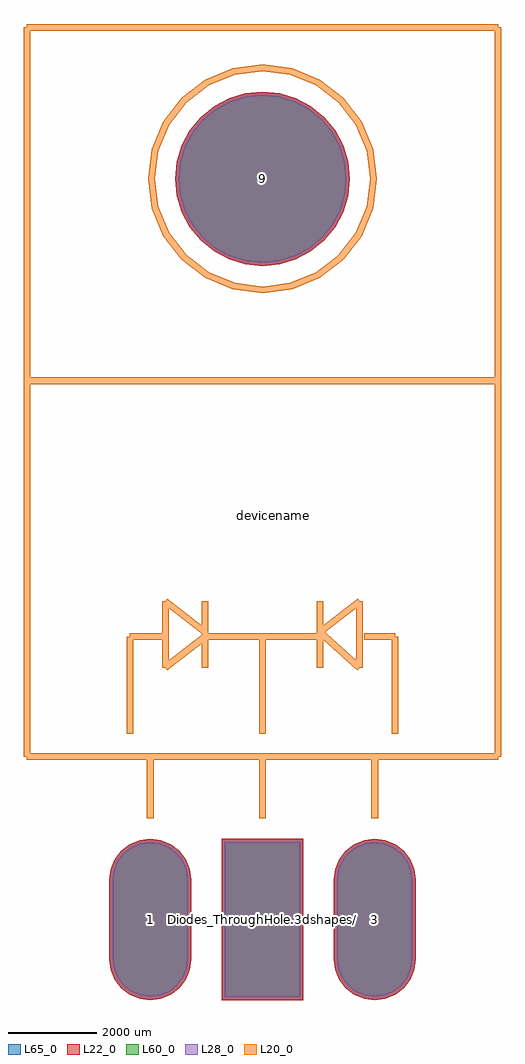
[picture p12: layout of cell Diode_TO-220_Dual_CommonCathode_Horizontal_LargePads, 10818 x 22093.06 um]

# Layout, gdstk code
import gdstk
lib = gdstk.Library(unit=1e-6, precision=1e-09)
def R(c, l, rs):  # rectangles x0, y0, x1, y1
    for r in rs: c.add(gdstk.rectangle(r[:2], r[2:], *l))
def P(c, l, *ps):  # polygons
    for p in ps: c.add(gdstk.Polygon(p, *l))
L20_0 = (20, 0)
L22_0 = (22, 0)
L28_0 = (28, 0)
L60_0 = (60, 0)
L65_0 = (65, 0)

diode_to_220_dual_common = lib.new_cell('Diode_TO-220_Dual_CommonCathode_Horizontal_LargePads')
R(diode_to_220_dual_common, L22_0, [(1612.83,-1825.06,3462.09,1825.06)])
P(diode_to_220_dual_common, L22_0, [(4512.38,16764),(4474.432,17149.288),(4362.048,17519.769),(4179.546,17861.207),(3933.939,18160.479),(3634.667,18406.086),(3293.229,18588.588),(2922.748,18700.972),(2537.46,18738.92),(2152.172,18700.972),(1781.691,18588.588),(1440.253,18406.086),(1140.981,18160.479),(895.374,17861.207),(712.872,17519.769),(600.488,17149.288),(562.54,16764),(600.488,16378.712),(712.872,16008.231),(895.374,15666.793),(1140.981,15367.521),(1440.253,15121.914),(1781.691,14939.412),(2152.172,14827.028),(2537.46,14789.08),(2922.748,14827.028),(3293.229,14939.412),(3634.667,15121.914),(3933.939,15367.521),(4179.546,15666.793),(4362.048,16008.231),(4474.432,16378.712)],
  [(5077.46,-1825.06),(5316.772,-1793.554),(5539.775,-1701.183),(5731.272,-1554.242),(5878.213,-1362.745),(5970.584,-1139.742),(6002.09,-900.43),(6002.09,900.43),(5970.584,1139.742),(5878.213,1362.745),(5731.272,1554.242),(5539.775,1701.183),(5316.772,1793.554),(5077.46,1825.06),(4838.148,1793.554),(4615.145,1701.183),(4423.648,1554.242),(4276.707,1362.745),(4184.336,1139.742),(4152.83,900.43),(4152.83,-900.43),(4184.336,-1139.742),(4276.707,-1362.745),(4423.648,-1554.242),(4615.145,-1701.183),(4838.148,-1793.554)],
  [(-2.54,-1825.06),(236.772,-1793.554),(459.775,-1701.183),(651.272,-1554.242),(798.213,-1362.745),(890.584,-1139.742),(922.09,-900.43),(922.09,900.43),(890.584,1139.742),(798.213,1362.745),(651.272,1554.242),(459.775,1701.183),(236.772,1793.554),(-2.54,1825.06),(-241.852,1793.554),(-464.855,1701.183),(-656.352,1554.242),(-803.293,1362.745),(-895.664,1139.742),(-927.17,900.43),(-927.17,-900.43),(-895.664,-1139.742),(-803.293,-1362.745),(-656.352,-1554.242),(-464.855,-1701.183),(-241.852,-1793.554)])
R(diode_to_220_dual_common, L28_0, [(1687.83,-1750.06,3387.09,1750.06)])
P(diode_to_220_dual_common, L28_0, [(4437.38,16764),(4400.874,17134.656),(4292.757,17491.068),(4117.186,17819.539),(3880.906,18107.446),(3592.999,18343.726),(3264.528,18519.297),(2908.116,18627.414),(2537.46,18663.92),(2166.804,18627.414),(1810.392,18519.297),(1481.921,18343.726),(1194.014,18107.446),(957.734,17819.539),(782.163,17491.068),(674.046,17134.656),(637.54,16764),(674.046,16393.344),(782.163,16036.932),(957.734,15708.461),(1194.014,15420.554),(1481.921,15184.274),(1810.392,15008.703),(2166.804,14900.586),(2537.46,14864.08),(2908.116,14900.586),(3264.528,15008.703),(3592.999,15184.274),(3880.906,15420.554),(4117.186,15708.461),(4292.757,16036.932),(4400.874,16393.344)],
  [(5077.46,-1750.06),(5297.36,-1721.11),(5502.275,-1636.231),(5678.239,-1501.209),(5813.261,-1325.245),(5898.14,-1120.33),(5927.09,-900.43),(5927.09,900.43),(5898.14,1120.33),(5813.261,1325.245),(5678.239,1501.209),(5502.275,1636.231),(5297.36,1721.11),(5077.46,1750.06),(4857.56,1721.11),(4652.645,1636.231),(4476.681,1501.209),(4341.659,1325.245),(4256.78,1120.33),(4227.83,900.43),(4227.83,-900.43),(4256.78,-1120.33),(4341.659,-1325.245),(4476.681,-1501.209),(4652.645,-1636.231),(4857.56,-1721.11)],
  [(-2.54,-1750.06),(217.36,-1721.11),(422.275,-1636.231),(598.239,-1501.209),(733.261,-1325.245),(818.14,-1120.33),(847.09,-900.43),(847.09,900.43),(818.14,1120.33),(733.261,1325.245),(598.239,1501.209),(422.275,1636.231),(217.36,1721.11),(-2.54,1750.06),(-222.44,1721.11),(-427.355,1636.231),(-603.319,1501.209),(-738.341,1325.245),(-823.22,1120.33),(-852.17,900.43),(-852.17,-900.43),(-823.22,-1120.33),(-738.341,-1325.245),(-603.319,-1501.209),(-427.355,-1636.231),(-222.44,-1721.11)])
R(diode_to_220_dual_common, L60_0, [(1687.83,-1750.06,3387.09,1750.06)])
P(diode_to_220_dual_common, L60_0, [(4437.38,16764),(4400.874,17134.656),(4292.757,17491.068),(4117.186,17819.539),(3880.906,18107.446),(3592.999,18343.726),(3264.528,18519.297),(2908.116,18627.414),(2537.46,18663.92),(2166.804,18627.414),(1810.392,18519.297),(1481.921,18343.726),(1194.014,18107.446),(957.734,17819.539),(782.163,17491.068),(674.046,17134.656),(637.54,16764),(674.046,16393.344),(782.163,16036.932),(957.734,15708.461),(1194.014,15420.554),(1481.921,15184.274),(1810.392,15008.703),(2166.804,14900.586),(2537.46,14864.08),(2908.116,14900.586),(3264.528,15008.703),(3592.999,15184.274),(3880.906,15420.554),(4117.186,15708.461),(4292.757,16036.932),(4400.874,16393.344)],
  [(5077.46,-1750.06),(5297.36,-1721.11),(5502.275,-1636.231),(5678.239,-1501.209),(5813.261,-1325.245),(5898.14,-1120.33),(5927.09,-900.43),(5927.09,900.43),(5898.14,1120.33),(5813.261,1325.245),(5678.239,1501.209),(5502.275,1636.231),(5297.36,1721.11),(5077.46,1750.06),(4857.56,1721.11),(4652.645,1636.231),(4476.681,1501.209),(4341.659,1325.245),(4256.78,1120.33),(4227.83,900.43),(4227.83,-900.43),(4256.78,-1120.33),(4341.659,-1325.245),(4476.681,-1501.209),(4652.645,-1636.231),(4857.56,-1721.11)],
  [(-2.54,-1750.06),(217.36,-1721.11),(422.275,-1636.231),(598.239,-1501.209),(733.261,-1325.245),(818.14,-1120.33),(847.09,-900.43),(847.09,900.43),(818.14,1120.33),(733.261,1325.245),(598.239,1501.209),(422.275,1636.231),(217.36,1721.11),(-2.54,1750.06),(-222.44,1721.11),(-427.355,1636.231),(-603.319,1501.209),(-738.341,1325.245),(-823.22,1120.33),(-852.17,900.43),(-852.17,-900.43),(-823.22,-1120.33),(-738.341,-1325.245),(-603.319,-1501.209),(-427.355,-1636.231),(-222.44,-1721.11)])
R(diode_to_220_dual_common, L65_0, [(1612.83,-1825.06,3462.09,1825.06)])
P(diode_to_220_dual_common, L65_0, [(4512.38,16764),(4474.432,17149.288),(4362.048,17519.769),(4179.546,17861.207),(3933.939,18160.479),(3634.667,18406.086),(3293.229,18588.588),(2922.748,18700.972),(2537.46,18738.92),(2152.172,18700.972),(1781.691,18588.588),(1440.253,18406.086),(1140.981,18160.479),(895.374,17861.207),(712.872,17519.769),(600.488,17149.288),(562.54,16764),(600.488,16378.712),(712.872,16008.231),(895.374,15666.793),(1140.981,15367.521),(1440.253,15121.914),(1781.691,14939.412),(2152.172,14827.028),(2537.46,14789.08),(2922.748,14827.028),(3293.229,14939.412),(3634.667,15121.914),(3933.939,15367.521),(4179.546,15666.793),(4362.048,16008.231),(4474.432,16378.712)],
  [(5077.46,-1825.06),(5316.772,-1793.554),(5539.775,-1701.183),(5731.272,-1554.242),(5878.213,-1362.745),(5970.584,-1139.742),(6002.09,-900.43),(6002.09,900.43),(5970.584,1139.742),(5878.213,1362.745),(5731.272,1554.242),(5539.775,1701.183),(5316.772,1793.554),(5077.46,1825.06),(4838.148,1793.554),(4615.145,1701.183),(4423.648,1554.242),(4276.707,1362.745),(4184.336,1139.742),(4152.83,900.43),(4152.83,-900.43),(4184.336,-1139.742),(4276.707,-1362.745),(4423.648,-1554.242),(4615.145,-1701.183),(4838.148,-1793.554)],
  [(-2.54,-1825.06),(236.772,-1793.554),(459.775,-1701.183),(651.272,-1554.242),(798.213,-1362.745),(890.584,-1139.742),(922.09,-900.43),(922.09,900.43),(890.584,1139.742),(798.213,1362.745),(651.272,1554.242),(459.775,1701.183),(236.772,1793.554),(-2.54,1825.06),(-241.852,1793.554),(-464.855,1701.183),(-656.352,1554.242),(-803.293,1362.745),(-895.664,1139.742),(-927.17,900.43),(-927.17,-900.43),(-895.664,-1139.742),(-803.293,-1362.745),(-656.352,-1554.242),(-464.855,-1701.183),(-241.852,-1793.554)])
diode_to_220_dual_common.add(gdstk.FlexPath([(2537.46,3683),(7871.46,3683)], 149.998, ends="flush", simple_path=True, layer=20, datatype=0))  # L20_0
diode_to_220_dual_common.add(gdstk.FlexPath([(2537.46,3683),(-2796.54,3683)], 149.998, ends="flush", simple_path=True, layer=20, datatype=0))  # L20_0
diode_to_220_dual_common.add(gdstk.FlexPath([(-2796.54,12192),(-2796.54,3683)], 149.998, ends="flush", simple_path=True, layer=20, datatype=0))  # L20_0
diode_to_220_dual_common.add(gdstk.FlexPath([(7871.46,12192),(-2796.54,12192)], 149.998, ends="flush", simple_path=True, layer=20, datatype=0))  # L20_0
diode_to_220_dual_common.add(gdstk.FlexPath([(7871.46,3683),(7871.46,12192)], 149.998, ends="flush", simple_path=True, layer=20, datatype=0))  # L20_0
diode_to_220_dual_common.add(gdstk.FlexPath([(-2796.54,20193),(-2796.54,12192)], 149.998, ends="flush", simple_path=True, layer=20, datatype=0))  # L20_0
diode_to_220_dual_common.add(gdstk.FlexPath([(7871.46,20193),(-2796.54,20193)], 149.998, ends="flush", simple_path=True, layer=20, datatype=0))  # L20_0
diode_to_220_dual_common.add(gdstk.FlexPath([(7871.46,12192),(7871.46,20193)], 149.998, ends="flush", simple_path=True, layer=20, datatype=0))  # L20_0
diode_to_220_dual_common.add(gdstk.FlexPath([(4315.46,14986),(4715.056,15506.764),(4966.253,16113.207),(5051.932,16764),(4966.253,17414.793),(4715.056,18021.236),(4315.46,18542),(3794.696,18941.596),(3188.253,19192.793),(2537.46,19278.472),(1886.667,19192.793),(1280.224,18941.596),(759.46,18542),(359.864,18021.236),(108.667,17414.793),(22.988,16764),(108.667,16113.207),(359.864,15506.764),(759.46,14986),(1280.224,14586.404),(1886.667,14335.207),(2537.46,14249.528),(3188.253,14335.207),(3794.696,14586.404),(4315.46,14986)], 149.998, ends="flush", simple_path=True, layer=20, datatype=0))  # L20_0
diode_to_220_dual_common.add(gdstk.FlexPath([(5077.46,3683),(5077.46,2286)], 149.998, ends="flush", simple_path=True, layer=20, datatype=0))  # L20_0
diode_to_220_dual_common.add(gdstk.FlexPath([(2537.46,3683),(2537.46,2286)], 149.998, ends="flush", simple_path=True, layer=20, datatype=0))  # L20_0
diode_to_220_dual_common.add(gdstk.FlexPath([(-2.54,3683),(-2.54,2286)], 149.998, ends="flush", simple_path=True, layer=20, datatype=0))  # L20_0
diode_to_220_dual_common.add(gdstk.FlexPath([(3837.94,7200.9),(3837.94,5699.76)], 149.998, ends="flush", simple_path=True, layer=20, datatype=0))  # L20_0
diode_to_220_dual_common.add(gdstk.FlexPath([(1236.98,7200.9),(1236.98,5699.76)], 149.998, ends="flush", simple_path=True, layer=20, datatype=0))  # L20_0
diode_to_220_dual_common.add(gdstk.FlexPath([(4737.1,5699.76),(3837.94,6499.86)], 149.998, ends="flush", simple_path=True, layer=20, datatype=0))  # L20_0
diode_to_220_dual_common.add(gdstk.FlexPath([(4737.1,7200.9),(4737.1,5699.76)], 149.998, ends="flush", simple_path=True, layer=20, datatype=0))  # L20_0
diode_to_220_dual_common.add(gdstk.FlexPath([(3837.94,6499.86),(4737.1,7200.9)], 149.998, ends="flush", simple_path=True, layer=20, datatype=0))  # L20_0
diode_to_220_dual_common.add(gdstk.FlexPath([(337.82,5699.76),(1236.98,6400.8)], 149.998, ends="flush", simple_path=True, layer=20, datatype=0))  # L20_0
diode_to_220_dual_common.add(gdstk.FlexPath([(337.82,7200.9),(337.82,5699.76)], 149.998, ends="flush", simple_path=True, layer=20, datatype=0))  # L20_0
diode_to_220_dual_common.add(gdstk.FlexPath([(1236.98,6499.86),(337.82,7200.9)], 149.998, ends="flush", simple_path=True, layer=20, datatype=0))  # L20_0
diode_to_220_dual_common.add(gdstk.FlexPath([(1236.98,6400.8),(3937,6400.8)], 149.998, ends="flush", simple_path=True, layer=20, datatype=0))  # L20_0
diode_to_220_dual_common.add(gdstk.FlexPath([(5537.2,6400.8),(5537.2,4201.16)], 149.998, ends="flush", simple_path=True, layer=20, datatype=0))  # L20_0
diode_to_220_dual_common.add(gdstk.FlexPath([(4838.7,6400.8),(5537.2,6400.8)], 149.998, ends="flush", simple_path=True, layer=20, datatype=0))  # L20_0
diode_to_220_dual_common.add(gdstk.FlexPath([(-462.28,6400.8),(-462.28,4201.16)], 149.998, ends="flush", simple_path=True, layer=20, datatype=0))  # L20_0
diode_to_220_dual_common.add(gdstk.FlexPath([(337.82,6400.8),(-462.28,6400.8)], 149.998, ends="flush", simple_path=True, layer=20, datatype=0))  # L20_0
diode_to_220_dual_common.add(gdstk.FlexPath([(2537.46,6400.8),(2537.46,4201.16)], 149.998, ends="flush", simple_path=True, layer=20, datatype=0))  # L20_0
diode_to_220_dual_common.add(gdstk.Label('Diodes_ThroughHole.3dshapes/Diode_TO-220_Dual_CommonCathode_Horizontal_LargePads.wrl', (2540,0), layer=12, texttype=0))
diode_to_220_dual_common.add(gdstk.Label('9', (2537.46,16764), layer=28, texttype=0))
diode_to_220_dual_common.add(gdstk.Label('3', (5077.46,0), layer=28, texttype=0))
diode_to_220_dual_common.add(gdstk.Label('1', (-2.54,0), layer=28, texttype=0))
diode_to_220_dual_common.add(gdstk.Label('2', (2537.46,0), layer=28, texttype=0))
diode_to_220_dual_common.add(gdstk.Label('type', (2527.3,-3086.1), layer=9, texttype=0))
diode_to_220_dual_common.add(gdstk.Label('devicename', (2791.46,9144), layer=9, texttype=0))

lib.write_gds('Diode_TO-220_Dual_CommonCathode_Horizontal_LargePads.gds')
